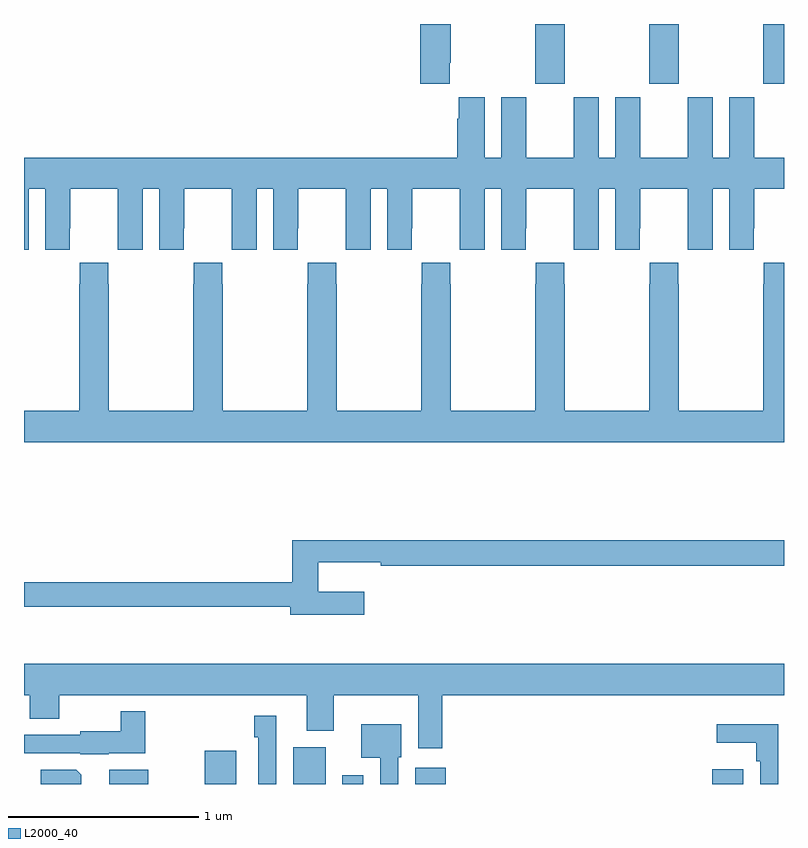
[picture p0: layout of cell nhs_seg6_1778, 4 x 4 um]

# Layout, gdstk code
import gdstk
lib = gdstk.Library(unit=1e-6, precision=1e-09)
def R(c, l, rs):  # rectangles x0, y0, x1, y1
    for r in rs: c.add(gdstk.rectangle(r[:2], r[2:], *l))
def P(c, l, *ps):  # polygons
    for p in ps: c.add(gdstk.Polygon(p, *l))
L2000_40 = (2000, 40)

nhs_seg6_1778 = lib.new_cell('nhs_seg6_1778')
R(nhs_seg6_1778, L2000_40, [(217.448,981.5,217.654,981.574), (217.951,981.5,218.116,981.676), (218.417,981.5,218.587,981.694), (218.675,981.5,218.785,981.547), (219.059,981.5,219.221,981.586), (220.622,981.5,220.786,981.577), (219.691,985.185,219.846,985.5), (220.291,985.185,220.446,985.5), (220.891,985.185,221,985.5)])
P(nhs_seg6_1778, L2000_40, [(219.241,985.297),(219.246,985.297),(219.246,985.5),(219.086,985.5),(219.086,985.185),(219.241,985.185)],
  [(217,984.312),(217.024,984.312),(217.024,984.632),(217.112,984.632),(217.112,984.312),(217.242,984.312),(217.242,984.424),(217.243,984.424),(217.243,984.632),(217.493,984.632),(217.493,984.424),(217.494,984.424),(217.494,984.312),(217.624,984.312),(217.624,984.632),(217.712,984.632),(217.712,984.312),(217.842,984.312),(217.842,984.424),(217.843,984.424),(217.843,984.632),(218.093,984.632),(218.093,984.424),(218.094,984.424),(218.094,984.312),(218.224,984.312),(218.224,984.632),(218.312,984.632),(218.312,984.312),(218.442,984.312),(218.442,984.424),(218.443,984.424),(218.443,984.632),(218.693,984.632),(218.693,984.424),(218.694,984.424),(218.694,984.312),(218.824,984.312),(218.824,984.632),(218.912,984.632),(218.912,984.312),(219.042,984.312),(219.042,984.424),(219.043,984.424),(219.043,984.632),(219.293,984.632),(219.293,984.424),(219.294,984.424),(219.294,984.312),(219.424,984.312),(219.424,984.632),(219.512,984.632),(219.512,984.312),(219.642,984.312),(219.642,984.424),(219.643,984.424),(219.643,984.632),(219.893,984.632),(219.893,984.424),(219.894,984.424),(219.894,984.312),(220.024,984.312),(220.024,984.632),(220.112,984.632),(220.112,984.312),(220.242,984.312),(220.242,984.424),(220.243,984.424),(220.243,984.632),(220.493,984.632),(220.493,984.424),(220.494,984.424),(220.494,984.312),(220.624,984.312),(220.624,984.632),(220.712,984.632),(220.712,984.312),(220.842,984.312),(220.842,984.424),(220.843,984.424),(220.843,984.632),(221,984.632),(221,984.796),(220.843,984.796),(220.843,985.114),(220.712,985.114),(220.712,984.796),(220.624,984.796),(220.624,985.114),(220.493,985.114),(220.493,984.796),(220.243,984.796),(220.243,985.114),(220.112,985.114),(220.112,984.796),(220.024,984.796),(220.024,985.114),(219.893,985.114),(219.893,984.796),(219.643,984.796),(219.643,985.114),(219.512,985.114),(219.512,984.796),(219.424,984.796),(219.424,985.114),(219.287,985.114),(219.287,985.001),(219.281,985.001),(219.281,984.796),(217,984.796)],
  [(219.243,984.131),(219.243,984.244),(219.093,984.244),(219.093,984.131),(219.091,984.131),(219.091,983.464),(218.646,983.464),(218.646,984.131),(218.643,984.131),(218.643,984.244),(218.493,984.244),(218.493,984.131),(218.491,984.131),(218.491,983.464),(218.046,983.464),(218.046,984.131),(218.043,984.131),(218.043,984.244),(217.893,984.244),(217.893,984.131),(217.891,984.131),(217.891,983.464),(217.446,983.464),(217.446,984.131),(217.443,984.131),(217.443,984.244),(217.293,984.244),(217.293,984.131),(217.291,984.131),(217.291,983.464),(217,983.464),(217,983.3),(221,983.3),(221,984.244),(220.893,984.244),(220.893,984.131),(220.891,984.131),(220.891,983.464),(220.446,983.464),(220.446,984.131),(220.443,984.131),(220.443,984.244),(220.293,984.244),(220.293,984.131),(220.291,984.131),(220.291,983.464),(219.846,983.464),(219.846,984.131),(219.843,984.131),(219.843,984.244),(219.693,984.244),(219.693,984.131),(219.691,984.131),(219.691,983.464),(219.246,983.464),(219.246,984.131)],
  [(218.791,982.513),(218.549,982.513),(218.549,982.667),(218.878,982.667),(218.878,982.648),(221,982.648),(221,982.784),(218.413,982.784),(218.413,982.562),(217,982.562),(217,982.434),(218.402,982.434),(218.402,982.391),(218.791,982.391)],
  [(219.2,981.968),(221,981.968),(221,982.132),(217,982.132),(217,981.968),(217.03,981.968),(217.03,981.844),(217.185,981.844),(217.185,981.968),(218.489,981.968),(218.489,981.779),(218.629,981.779),(218.629,981.968),(219.074,981.968),(219.074,981.687),(219.2,981.687)],
  [(217.446,981.662),(217.637,981.662),(217.637,981.883),(217.509,981.883),(217.509,981.778),(217.296,981.778),(217.296,981.759),(217,981.759),(217,981.663),(217.296,981.663),(217.296,981.656),(217.446,981.656)],
  [(218.328,981.859),(218.212,981.859),(218.212,981.746),(218.232,981.746),(218.232,981.5),(218.328,981.5)],
  [(218.97,981.642),(218.986,981.642),(218.986,981.814),(218.774,981.814),(218.774,981.638),(218.874,981.638),(218.874,981.5),(218.97,981.5)],
  [(220.971,981.814),(220.647,981.814),(220.647,981.716),(220.855,981.716),(220.855,981.62),(220.875,981.62),(220.875,981.5),(220.971,981.5)],
  [(217.3,981.548),(217.274,981.574),(217.088,981.574),(217.088,981.5),(217.3,981.5)])

lib.write_gds('nhs_seg6_1778.gds')
